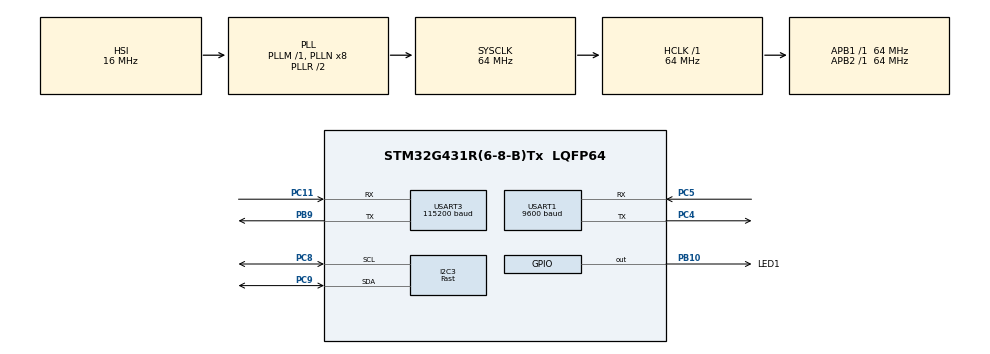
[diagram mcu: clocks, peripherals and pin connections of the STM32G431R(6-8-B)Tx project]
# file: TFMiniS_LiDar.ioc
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Dma.Request0=USART3_RX
Dma.USART3_RX.0.Direction=DMA_PERIPH_TO_MEMORY
Dma.USART3_RX.0.EventEnable=DISABLE
Dma.USART3_RX.0.Instance=DMA1_Channel1
Dma.USART3_RX.0.MemDataAlignment=DMA_MDATAALIGN_BYTE
Dma.USART3_RX.0.MemInc=DMA_MINC_ENABLE
Dma.USART3_RX.0.Mode=DMA_NORMAL
Dma.USART3_RX.0.PeriphDataAlignment=DMA_PDATAALIGN_BYTE
Dma.USART3_RX.0.PeriphInc=DMA_PINC_DISABLE
Dma.USART3_RX.0.Polarity=HAL_DMAMUX_REQ_GEN_RISING
Dma.USART3_RX.0.Priority=DMA_PRIORITY_LOW
Dma.USART3_RX.0.RequestNumber=1
Dma.USART3_RX.0.SignalID=NONE
Dma.USART3_RX.0.SyncEnable=DISABLE
Dma.USART3_RX.0.SyncPolarity=HAL_DMAMUX_SYNC_NO_EVENT
Dma.USART3_RX.0.SyncRequestNumber=1
Dma.USART3_RX.0.SyncSignalID=NONE
I2C3.CustomTiming=Disabled
I2C3.I2C_Speed_Mode=I2C_Fast
I2C3.Timing=0x00602173
Mcu.Family=STM32G4
Mcu.Name=STM32G431R(6-8-B)Tx
Mcu.Package=LQFP64
NVIC.DMA1_Channel1_IRQn=true\:0\:0\:false\:false\:true\:false\:true\:true
NVIC.PriorityGroup=NVIC_PRIORITYGROUP_4
NVIC.TIM3_IRQn=true\:2\:0\:true\:false\:true\:true\:true\:true
NVIC.USART1_IRQn=true\:0\:0\:false\:false\:true\:true\:true\:true
NVIC.USART3_IRQn=true\:0\:0\:false\:false\:true\:true\:true\:true
PA13.Mode=Serial_Wire
PA13.Signal=SYS_JTMS-SWDIO
PA14.Mode=Serial_Wire
PA14.Signal=SYS_JTCK-SWCLK
PB10.GPIO_Label=LED1
PB10.GPIO_ModeDefaultOutputPP=GPIO_MODE_OUTPUT_OD
PB10.GPIO_PuPd=GPIO_NOPULL
PB10.GPIO_Speed=GPIO_SPEED_FREQ_HIGH
PB10.Signal=GPIO_Output
PB10.Stacked=true
PB9.Mode=Asynchronous
PB9.Signal=USART3_TX
PC11.Mode=Asynchronous
PC11.Signal=USART3_RX
PC14-OSC32_IN.Mode=LSE-External-Oscillator
PC14-OSC32_IN.Signal=RCC_OSC32_IN
PC15-OSC32_OUT.Mode=LSE-External-Oscillator
PC15-OSC32_OUT.Signal=RCC_OSC32_OUT
PC4.Mode=Asynchronous
PC4.Signal=USART1_TX
PC5.Mode=Asynchronous
PC5.Signal=USART1_RX
PC8.Mode=I2C
PC8.Signal=I2C3_SCL
PC9.Mode=I2C
PC9.Signal=I2C3_SDA
ProjectManager.HeapSize=0x200
ProjectManager.StackSize=0x600
ProjectManager.TargetToolchain=STM32CubeIDE
RCC.ADC12Freq_Value=64000000
RCC.AHBFreq_Value=64000000
RCC.APB1Freq_Value=64000000
RCC.APB1TimFreq_Value=64000000
RCC.APB2Freq_Value=64000000
RCC.APB2TimFreq_Value=64000000
RCC.CortexFreq_Value=64000000
RCC.EXTERNAL_CLOCK_VALUE=12288000
RCC.HCLKFreq_Value=64000000
RCC.HSE_VALUE=8000000
RCC.HSI48_VALUE=48000000
RCC.HSI_VALUE=16000000
RCC.RCC_MCO1Source=RCC_MCO1SOURCE_LSE
RCC.SYSCLKFreq_VALUE=64000000
RCC.SYSCLKSource=RCC_SYSCLKSOURCE_PLLCLK
RCC.USBFreq_Value=64000000
RCC.VCOOutputFreq_Value=128000000
TIM3.PeriodNoDither=239
TIM3.Prescaler=199
USART1.BaudRate=9600
USART1.VirtualMode-Asynchronous=VM_ASYNC
USART3.BaudRate=115200
USART3.VirtualMode-Asynchronous=VM_ASYNC
VP_RTC_VS_RTC_Activate.Mode=RTC_Enabled
VP_SYS_VS_DBSignals.Mode=DisableDeadBatterySignals
VP_TIM3_VS_ClockSourceINT.Mode=Internal
board=custom

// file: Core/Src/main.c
/* USER CODE BEGIN Header */
/**
 ******************************************************************************
 * @file           : main.c
 * @brief          : Main program body
 ******************************************************************************
 * @attention
 *
 * Copyright (c) 2024 STMicroelectronics.
 * All rights reserved.
 *
 * This software is licensed under terms that can be found in the LICENSE file
 * in the root directory of this software component.
 * If no LICENSE file comes with this software, it is provided AS-IS.
 *
 ******************************************************************************
 */
/* USER CODE END Header */
#include "main.h"

/* USER CODE BEGIN Includes */
#include "stm32g4xx.h"
#include <stdint.h>
#include <stdio.h>
#include <string.h>
#include <OLED_Fonts.h>
#include <OLED_Icons.h>
#include <OLED.h>
/* USER CODE END Includes */

I2C_HandleTypeDef hi2c3;

RTC_HandleTypeDef hrtc;

TIM_HandleTypeDef htim3;

UART_HandleTypeDef huart1;
UART_HandleTypeDef huart3;
DMA_HandleTypeDef hdma_usart3_rx;

/* USER CODE BEGIN PV */
char lidar_rx_buff[9] = {0};
char buff[] = "00.00 cm";
uint8_t cmd[] = {0x5A, 0x05, 0x07, 0x01, 0x67}; // Comando exemplo (substitua pelo comando correto)
uint8_t rcv_byte,
flag_pacote_completo,
auxbuff = 0;
uint16_t altura_sensor,
cont[8]= {0};
/* USER CODE END PV */

void SystemClock_Config(void);
static void MX_GPIO_Init(void);
static void MX_DMA_Init(void);
static void MX_I2C3_Init(void);
static void MX_TIM3_Init(void);
static void MX_USART3_UART_Init(void);
static void MX_RTC_Init(void);
static void MX_USART1_UART_Init(void);
/* USER CODE BEGIN PFP */
uint8_t leitura_buffer(void);
void trata_uart(void);
void trata_string(void);
void transmite_tfmini(void);
/* USER CODE END PFP */

/* USER CODE BEGIN 0 */
void HAL_UART_RxCpltCallback(UART_HandleTypeDef *huart){
	if(huart->Instance == USART3) {
		lidar_rx_buff[auxbuff] = rcv_byte;
		auxbuff++;
		if(auxbuff>=9){
			flag_pacote_completo = 1;
			auxbuff = 0;
		}
		else
			HAL_UART_Receive_IT(&huart3, (uint8_t*)&rcv_byte, sizeof(rcv_byte));	/*RECEBE UM BYTE*/
	}
}
void HAL_TIM_PeriodElapsedCallback(TIM_HandleTypeDef * htim){//ENDEREÇO DE HTIM COMO PARAMETRO
	if(htim->Instance == TIM3){ 										/*IR�? LER O MEMBRO DA ESTRUTURA APONTADO PELO PONTEIRO PASSADO COMO ARGUMENTO (*htim/nome da estrutura) DA FUNC CALL BACK*/
		/*FUNÇÃO DE TRATAMENTO DE INTERRUPÇÃO POR OVERFLOW TIMER3*/ /*Instance É A FLAG QUE INDICA QUAL TIMER GEROU A INTERRUPÇÃO*/
		/*DELAYS POR INTERRUPÇÃO - CONTADORES*/
		/*------------------INCREMENTO DOS CONTADORES--------------------*/
		cont[0]++;
		if(cont[0]>=250){
			HAL_GPIO_TogglePin(LED1_GPIO_Port, LED1_Pin);
			cont[0] = 0;
		}
	}
}
uint8_t leitura_buffer(void){
	for(int i = 0; i<7; i++){
		if(lidar_rx_buff[i] == 0x59 && lidar_rx_buff[i+1] == 0x59){
			altura_sensor = (lidar_rx_buff[i+3] << 8) | lidar_rx_buff[i+2];
			return 0;
		}
	}
	return 1;
}
void trata_uart(void){
	leitura_buffer();
	flag_pacote_completo = 0;
}
void trata_string(void){
	char altura[6] = {0};
	sprintf(altura,"%04d",altura_sensor);
}
/*SER�? IMPLEMENTADO DEPOIS*/
void transmite_tfmini(void){
	char buff1[8] = "0000 cm\n";
	sprintf(buff1, "%04d cm\n", altura_sensor);
	HAL_UART_Transmit(&huart1, (uint8_t*)buff1, sizeof(buff1), 0xFF);
}
/* USER CODE END 0 */

int main(void)
{

  /* MCU Configuration--------------------------------------------------------*/

  /* Reset of all peripherals, Initializes the Flash interface and the Systick. */
  HAL_Init();

  /* Configure the system clock */
  SystemClock_Config();

  /* Initialize all configured peripherals */
  MX_GPIO_Init();
  MX_DMA_Init();
  MX_I2C3_Init();
  MX_TIM3_Init();
  MX_USART3_UART_Init();
  MX_RTC_Init();
  MX_USART1_UART_Init();
  /* USER CODE BEGIN 2 */
	HAL_TIM_Base_Start_IT(&htim3); //INCIA TIMER3 COM INTERRUPÇÃO NO OVERFLOW
	HAL_UART_Receive_IT(&huart3, (uint8_t*)&rcv_byte, 1);
	OLED_Init(&hi2c3); //INICIANDO DISPLAY
	OLED_Clear(0);
	OLED_UpdateScreen();
  /* USER CODE END 2 */

  /* Infinite loop */
	while (1)
	{

    /* USER CODE BEGIN 3 */
		if(flag_pacote_completo)
			trata_uart();

		OLED_Clear(0);
		FontSet(Lucida_14);
		OLED_DrawStr("TF Mini Plus", CENTER, 1, 1);
		sprintf(buff, "%04d cm", altura_sensor);
		OLED_DrawStr(buff, CENTER, 40,1);
		OLED_UpdateScreen();
		transmite_tfmini();
		HAL_Delay(50);
		HAL_UART_Receive_IT(&huart3, (uint8_t*)&rcv_byte, sizeof(rcv_byte));	/*RECEBE UM BYTE*/
		HAL_Delay(50);
	}
  /* USER CODE END 3 */
}

void SystemClock_Config(void)
{
  RCC_OscInitTypeDef RCC_OscInitStruct = {0};
  RCC_ClkInitTypeDef RCC_ClkInitStruct = {0};

  /** Configure the main internal regulator output voltage
  */
  HAL_PWREx_ControlVoltageScaling(PWR_REGULATOR_VOLTAGE_SCALE1);

  /** Initializes the RCC Oscillators according to the specified parameters
  * in the RCC_OscInitTypeDef structure.
  */
  RCC_OscInitStruct.OscillatorType = RCC_OSCILLATORTYPE_HSI|RCC_OSCILLATORTYPE_LSI;
  RCC_OscInitStruct.HSIState = RCC_HSI_ON;
  RCC_OscInitStruct.HSICalibrationValue = RCC_HSICALIBRATION_DEFAULT;
  RCC_OscInitStruct.LSIState = RCC_LSI_ON;
  RCC_OscInitStruct.PLL.PLLState = RCC_PLL_ON;
  RCC_OscInitStruct.PLL.PLLSource = RCC_PLLSOURCE_HSI;
  RCC_OscInitStruct.PLL.PLLM = RCC_PLLM_DIV1;
  RCC_OscInitStruct.PLL.PLLN = 8;
  RCC_OscInitStruct.PLL.PLLP = RCC_PLLP_DIV2;
  RCC_OscInitStruct.PLL.PLLQ = RCC_PLLQ_DIV2;
  RCC_OscInitStruct.PLL.PLLR = RCC_PLLR_DIV2;
  if (HAL_RCC_OscConfig(&RCC_OscInitStruct) != HAL_OK)
  {
    Error_Handler();
  }

  /** Initializes the CPU, AHB and APB buses clocks
  */
  RCC_ClkInitStruct.ClockType = RCC_CLOCKTYPE_HCLK|RCC_CLOCKTYPE_SYSCLK
                              |RCC_CLOCKTYPE_PCLK1|RCC_CLOCKTYPE_PCLK2;
  RCC_ClkInitStruct.SYSCLKSource = RCC_SYSCLKSOURCE_PLLCLK;
  RCC_ClkInitStruct.AHBCLKDivider = RCC_SYSCLK_DIV1;
  RCC_ClkInitStruct.APB1CLKDivider = RCC_HCLK_DIV1;
  RCC_ClkInitStruct.APB2CLKDivider = RCC_HCLK_DIV1;

  if (HAL_RCC_ClockConfig(&RCC_ClkInitStruct, FLASH_LATENCY_2) != HAL_OK)
  {
    Error_Handler();
  }
}

static void MX_I2C3_Init(void)
{

  hi2c3.Instance = I2C3;
  hi2c3.Init.Timing = 0x00602173;
  hi2c3.Init.OwnAddress1 = 0;
  hi2c3.Init.AddressingMode = I2C_ADDRESSINGMODE_7BIT;
  hi2c3.Init.DualAddressMode = I2C_DUALADDRESS_DISABLE;
  hi2c3.Init.OwnAddress2 = 0;
  hi2c3.Init.OwnAddress2Masks = I2C_OA2_NOMASK;
  hi2c3.Init.GeneralCallMode = I2C_GENERALCALL_DISABLE;
  hi2c3.Init.NoStretchMode = I2C_NOSTRETCH_DISABLE;
  if (HAL_I2C_Init(&hi2c3) != HAL_OK)
  {
    Error_Handler();
  }

  /** Configure Analogue filter
  */
  if (HAL_I2CEx_ConfigAnalogFilter(&hi2c3, I2C_ANALOGFILTER_ENABLE) != HAL_OK)
  {
    Error_Handler();
  }

  /** Configure Digital filter
  */
  if (HAL_I2CEx_ConfigDigitalFilter(&hi2c3, 0) != HAL_OK)
  {
    Error_Handler();
  }

}

static void MX_RTC_Init(void)
{

  /** Initialize RTC Only
  */
  hrtc.Instance = RTC;
  hrtc.Init.HourFormat = RTC_HOURFORMAT_24;
  hrtc.Init.AsynchPrediv = 127;
  hrtc.Init.SynchPrediv = 255;
  hrtc.Init.OutPut = RTC_OUTPUT_DISABLE;
  hrtc.Init.OutPutRemap = RTC_OUTPUT_REMAP_NONE;
  hrtc.Init.OutPutPolarity = RTC_OUTPUT_POLARITY_HIGH;
  hrtc.Init.OutPutType = RTC_OUTPUT_TYPE_OPENDRAIN;
  hrtc.Init.OutPutPullUp = RTC_OUTPUT_PULLUP_NONE;
  if (HAL_RTC_Init(&hrtc) != HAL_OK)
  {
    Error_Handler();
  }

}

static void MX_TIM3_Init(void)
{

  TIM_ClockConfigTypeDef sClockSourceConfig = {0};
  TIM_MasterConfigTypeDef sMasterConfig = {0};

  htim3.Instance = TIM3;
  htim3.Init.Prescaler = 199;
  htim3.Init.CounterMode = TIM_COUNTERMODE_UP;
  htim3.Init.Period = 239;
  htim3.Init.ClockDivision = TIM_CLOCKDIVISION_DIV1;
  htim3.Init.AutoReloadPreload = TIM_AUTORELOAD_PRELOAD_DISABLE;
  if (HAL_TIM_Base_Init(&htim3) != HAL_OK)
  {
    Error_Handler();
  }
  sClockSourceConfig.ClockSource = TIM_CLOCKSOURCE_INTERNAL;
  if (HAL_TIM_ConfigClockSource(&htim3, &sClockSourceConfig) != HAL_OK)
  {
    Error_Handler();
  }
  sMasterConfig.MasterOutputTrigger = TIM_TRGO_RESET;
  sMasterConfig.MasterSlaveMode = TIM_MASTERSLAVEMODE_DISABLE;
  if (HAL_TIMEx_MasterConfigSynchronization(&htim3, &sMasterConfig) != HAL_OK)
  {
    Error_Handler();
  }

}

static void MX_USART1_UART_Init(void)
{

  huart1.Instance = USART1;
  huart1.Init.BaudRate = 9600;
  huart1.Init.WordLength = UART_WORDLENGTH_8B;
  huart1.Init.StopBits = UART_STOPBITS_1;
  huart1.Init.Parity = UART_PARITY_NONE;
  huart1.Init.Mode = UART_MODE_TX_RX;
  huart1.Init.HwFlowCtl = UART_HWCONTROL_NONE;
  huart1.Init.OverSampling = UART_OVERSAMPLING_16;
  huart1.Init.OneBitSampling = UART_ONE_BIT_SAMPLE_DISABLE;
  huart1.Init.ClockPrescaler = UART_PRESCALER_DIV1;
  huart1.AdvancedInit.AdvFeatureInit = UART_ADVFEATURE_NO_INIT;
  if (HAL_UART_Init(&huart1) != HAL_OK)
  {
    Error_Handler();
  }
  if (HAL_UARTEx_SetTxFifoThreshold(&huart1, UART_TXFIFO_THRESHOLD_1_8) != HAL_OK)
  {
    Error_Handler();
  }
  if (HAL_UARTEx_SetRxFifoThreshold(&huart1, UART_RXFIFO_THRESHOLD_1_8) != HAL_OK)
  {
    Error_Handler();
  }
  if (HAL_UARTEx_DisableFifoMode(&huart1) != HAL_OK)
  {
    Error_Handler();
  }

}

static void MX_USART3_UART_Init(void)
{

  huart3.Instance = USART3;
  huart3.Init.BaudRate = 115200;
  huart3.Init.WordLength = UART_WORDLENGTH_8B;
  huart3.Init.StopBits = UART_STOPBITS_1;
  huart3.Init.Parity = UART_PARITY_NONE;
  huart3.Init.Mode = UART_MODE_TX_RX;
  huart3.Init.HwFlowCtl = UART_HWCONTROL_NONE;
  huart3.Init.OverSampling = UART_OVERSAMPLING_16;
  huart3.Init.OneBitSampling = UART_ONE_BIT_SAMPLE_DISABLE;
  huart3.Init.ClockPrescaler = UART_PRESCALER_DIV1;
  huart3.AdvancedInit.AdvFeatureInit = UART_ADVFEATURE_NO_INIT;
  if (HAL_UART_Init(&huart3) != HAL_OK)
  {
    Error_Handler();
  }
  if (HAL_UARTEx_SetTxFifoThreshold(&huart3, UART_TXFIFO_THRESHOLD_1_8) != HAL_OK)
  {
    Error_Handler();
  }
  if (HAL_UARTEx_SetRxFifoThreshold(&huart3, UART_RXFIFO_THRESHOLD_1_8) != HAL_OK)
  {
    Error_Handler();
  }
  if (HAL_UARTEx_DisableFifoMode(&huart3) != HAL_OK)
  {
    Error_Handler();
  }

}

static void MX_DMA_Init(void)
{

  /* DMA controller clock enable */
  __HAL_RCC_DMAMUX1_CLK_ENABLE();
  __HAL_RCC_DMA1_CLK_ENABLE();

  /* DMA interrupt init */
  /* DMA1_Channel1_IRQn interrupt configuration */
  HAL_NVIC_SetPriority(DMA1_Channel1_IRQn, 0, 0);
  HAL_NVIC_EnableIRQ(DMA1_Channel1_IRQn);

}

static void MX_GPIO_Init(void)
{
  GPIO_InitTypeDef GPIO_InitStruct = {0};

  /* GPIO Ports Clock Enable */
  __HAL_RCC_GPIOC_CLK_ENABLE();
  __HAL_RCC_GPIOB_CLK_ENABLE();
  __HAL_RCC_GPIOA_CLK_ENABLE();

  /*Configure GPIO pin Output Level */
  HAL_GPIO_WritePin(LED1_GPIO_Port, LED1_Pin, GPIO_PIN_RESET);

  /*Configure GPIO pin : LED1_Pin */
  GPIO_InitStruct.Pin = LED1_Pin;
  GPIO_InitStruct.Mode = GPIO_MODE_OUTPUT_OD;
  GPIO_InitStruct.Pull = GPIO_NOPULL;
  GPIO_InitStruct.Speed = GPIO_SPEED_FREQ_HIGH;
  HAL_GPIO_Init(LED1_GPIO_Port, &GPIO_InitStruct);

}

void Error_Handler(void)
{
	__disable_irq();
	while (1)
	{
	}
}
